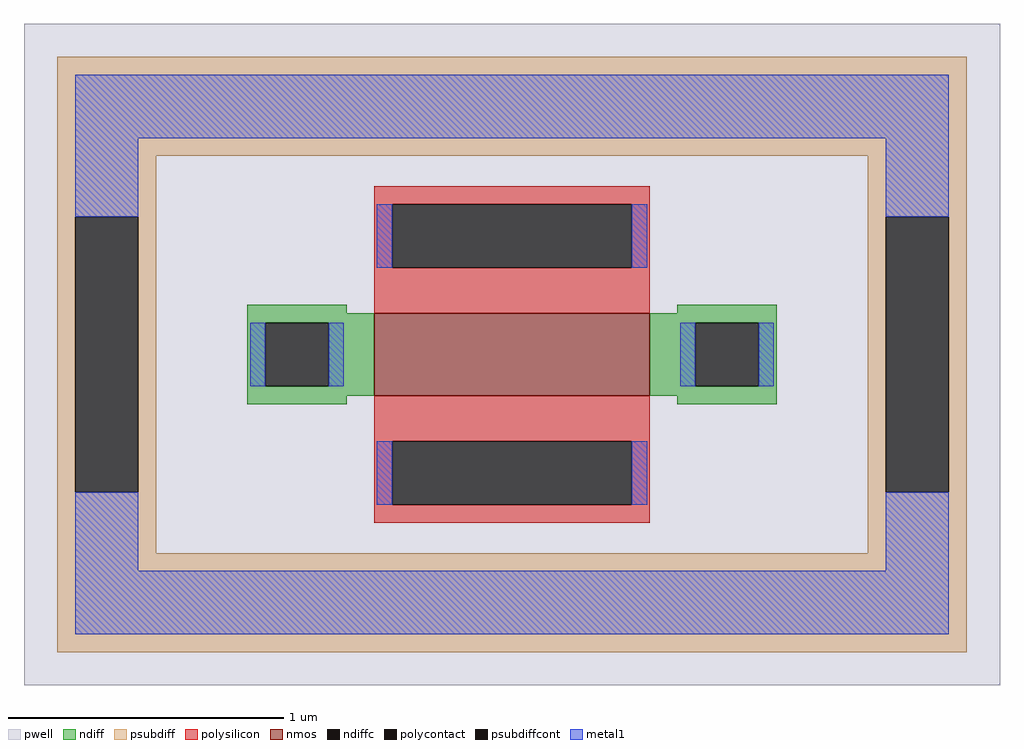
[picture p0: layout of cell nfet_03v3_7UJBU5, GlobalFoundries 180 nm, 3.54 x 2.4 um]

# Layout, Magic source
magic
tech gf180mcuD
magscale 1 10
<< pwell >>
rect -354 -240 354 240
<< nmos >>
rect -100 -30 100 30
<< ndiff >>
rect -192 30 -120 36
rect 120 30 192 36
rect -192 23 -100 30
rect -192 -23 -179 23
rect -133 -23 -100 23
rect -192 -30 -100 -23
rect 100 23 192 30
rect 100 -23 133 23
rect 179 -23 192 23
rect 100 -30 192 -23
rect -192 -36 -120 -30
rect 120 -36 192 -30
<< ndiffc >>
rect -179 -23 -133 23
rect 133 -23 179 23
<< psubdiff >>
rect -330 144 330 216
rect -330 100 -258 144
rect -330 -100 -317 100
rect -271 -100 -258 100
rect 258 100 330 144
rect -330 -144 -258 -100
rect 258 -100 271 100
rect 317 -100 330 100
rect 258 -144 330 -100
rect -330 -216 330 -144
<< psubdiffcont >>
rect -317 -100 -271 100
rect 271 -100 317 100
<< polysilicon >>
rect -100 109 100 122
rect -100 63 -87 109
rect 87 63 100 109
rect -100 30 100 63
rect -100 -63 100 -30
rect -100 -109 -87 -63
rect 87 -109 100 -63
rect -100 -122 100 -109
<< polycontact >>
rect -87 63 87 109
rect -87 -109 87 -63
<< metal1 >>
rect -317 157 317 203
rect -317 100 -271 157
rect -98 63 -87 109
rect 87 63 98 109
rect 271 100 317 157
rect -190 -23 -179 23
rect -133 -23 -122 23
rect 122 -23 133 23
rect 179 -23 190 23
rect -317 -157 -271 -100
rect -98 -109 -87 -63
rect 87 -109 98 -63
rect 271 -157 317 -100
rect -317 -203 317 -157
<< properties >>
string FIXED_BBOX -294 -180 294 180
string gencell nfet_03v3
string library gf180mcu
string parameters w 0.3 l 1.0 m 1 nf 1 diffcov 100 polycov 100 guard 1 glc 1 grc 1 gtc 0 gbc 0 tbcov 100 rlcov 100 topc 1 botc 1 poverlap 0 doverlap 1 lmin 0.28 wmin 0.22 class mosfet full_metal 1 compatible {nfet_03v3 nfet_06v0 nfet_06v0_nvt} ad {int((nf+1)/2) * W/nf * 0.18u} as {int((nf+2)/2) * W/nf * 0.18u} pd {2*int((nf+1)/2) * (W/nf + 0.18u)} ps {2*int((nf+2)/2) * (W/nf + 0.18u)} nrd {0.18u / W} nrs {0.18u / W} sa 0 sb 0 sd 0
<< end >>
